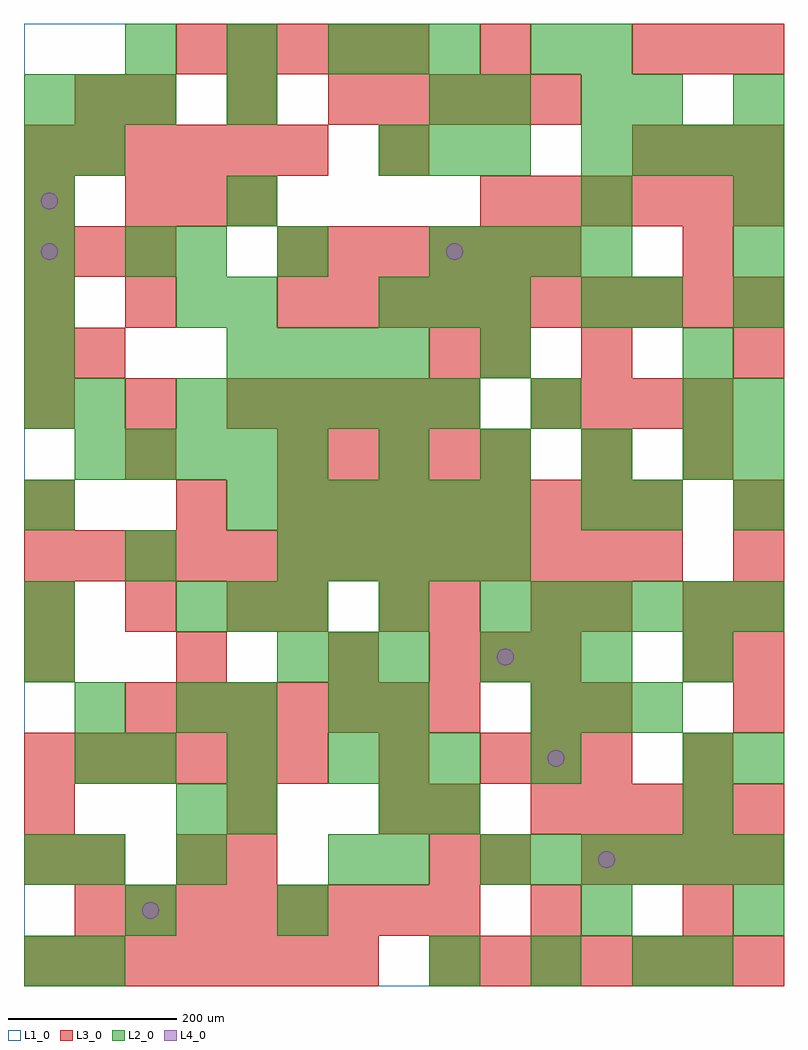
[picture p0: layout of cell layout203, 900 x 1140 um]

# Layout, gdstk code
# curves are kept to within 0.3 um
import gdstk
lib = gdstk.Library(unit=1e-6, precision=1e-09)
def R(c, l, rs):  # rectangles x0, y0, x1, y1
    for r in rs: c.add(gdstk.rectangle(r[:2], r[2:], *l))
def A(c, l, x, y, w, h, nx, ny, dx, dy):  # array of equal rectangles
    R(c, l, [(x+i*dx, y+j*dy, x+i*dx+w, y+j*dy+h) for i in range(nx) for j in range(ny)])
def P(c, l, *ps):  # polygons
    for p in ps: c.add(gdstk.Polygon(p, *l))
L1_0 = (1, 0)
L2_0 = (2, 0)
L3_0 = (3, 0)
L4_0 = (4, 0)

layout203 = lib.new_cell('layout203')
R(layout203, L1_0, [(0,0,900,1140)])
A(layout203, L2_0, 60, 0, 60, 60, 1, 3, 0, 120)
A(layout203, L2_0, 480, 0, 60, 60, 3, 1, 120, 0)
A(layout203, L2_0, 420, 120, 60, 60, 1, 4, 0, 60)
A(layout203, L2_0, 540, 120, 60, 60, 6, 2, 60, 300)
A(layout203, L2_0, 120, 240, 60, 60, 3, 2, 120, 840)
A(layout203, L2_0, 600, 240, 60, 60, 1, 3, 0, 420)
A(layout203, L2_0, 600, 300, 60, 60, 3, 1, 60, 0)
A(layout203, L2_0, 300, 360, 60, 60, 3, 1, 60, 0)
A(layout203, L2_0, 540, 360, 60, 60, 3, 1, 60, 0)
A(layout203, L2_0, 0, 420, 60, 60, 1, 3, 0, 120)
A(layout203, L2_0, 180, 420, 60, 60, 3, 1, 60, 0)
A(layout203, L2_0, 300, 480, 60, 60, 5, 1, 60, 0)
A(layout203, L2_0, 240, 540, 60, 60, 6, 1, 60, 0)
A(layout203, L2_0, 720, 540, 60, 60, 1, 3, 0, 240)
A(layout203, L2_0, 840, 540, 60, 60, 1, 3, 0, 60)
A(layout203, L2_0, 60, 600, 60, 60, 5, 1, 60, 0)
A(layout203, L2_0, 420, 600, 60, 60, 4, 1, 120, 0)
A(layout203, L2_0, 180, 660, 60, 60, 6, 1, 60, 0)
A(layout203, L2_0, 0, 720, 60, 60, 1, 5, 0, 60)
A(layout203, L2_0, 240, 720, 60, 60, 4, 1, 60, 0)
A(layout203, L2_0, 240, 780, 60, 60, 1, 3, 0, 120)
A(layout203, L2_0, 420, 780, 60, 60, 3, 2, 60, 180)
A(layout203, L2_0, 660, 780, 60, 60, 1, 3, 0, 120)
A(layout203, L2_0, 840, 780, 60, 60, 1, 3, 0, 60)
A(layout203, L2_0, 480, 840, 60, 60, 4, 1, 60, 0)
A(layout203, L2_0, 660, 960, 60, 60, 4, 1, 60, 0)
A(layout203, L2_0, 0, 1020, 60, 60, 3, 1, 60, 0)
R(layout203, L2_0, [(0,0,60,60), (780,0,840,60), (120,60,180,120), (300,60,360,120), (660,60,720,120), (840,60,900,120), (0,120,60,180), (180,120,240,180), (360,120,420,180), (180,180,240,240), (240,180,300,240), (480,180,540,240), (780,180,840,240), (480,240,540,300), (780,240,840,300), (840,240,900,300), (60,300,120,360), (180,300,240,360), (240,300,300,360), (360,300,420,360), (0,360,60,420), (780,360,840,420), (420,420,480,480), (120,480,180,540), (660,540,720,600), (60,660,120,720), (780,660,840,720), (540,720,600,780), (780,720,840,780), (180,780,240,840), (120,840,180,900), (180,840,240,900), (300,840,360,900), (60,960,120,1020), (480,1020,540,1080), (540,1020,600,1080), (840,1020,900,1080), (420,1080,480,1140), (480,1080,540,1140), (660,1080,720,1140)])
A(layout203, L3_0, 0, 0, 60, 60, 7, 1, 60, 0)
A(layout203, L3_0, 480, 0, 60, 60, 7, 1, 60, 0)
A(layout203, L3_0, 60, 60, 60, 60, 8, 1, 60, 0)
A(layout203, L3_0, 660, 120, 60, 60, 4, 1, 60, 0)
A(layout203, L3_0, 600, 180, 60, 60, 5, 1, 60, 0)
A(layout203, L3_0, 0, 240, 60, 60, 6, 2, 60, 720)
A(layout203, L3_0, 540, 240, 60, 60, 3, 1, 60, 0)
A(layout203, L3_0, 120, 300, 60, 60, 7, 1, 60, 0)
A(layout203, L3_0, 840, 300, 60, 60, 1, 5, 0, 60)
A(layout203, L3_0, 0, 360, 60, 60, 3, 1, 180, 0)
A(layout203, L3_0, 480, 360, 60, 60, 3, 1, 60, 0)
A(layout203, L3_0, 0, 420, 60, 60, 3, 2, 120, 240)
A(layout203, L3_0, 0, 480, 60, 60, 13, 1, 60, 0)
A(layout203, L3_0, 300, 540, 60, 60, 8, 1, 60, 0)
A(layout203, L3_0, 300, 600, 60, 60, 5, 1, 60, 0)
A(layout203, L3_0, 300, 660, 60, 60, 4, 1, 60, 0)
A(layout203, L3_0, 600, 660, 60, 60, 4, 1, 60, 0)
A(layout203, L3_0, 300, 780, 60, 60, 10, 1, 60, 0)
A(layout203, L3_0, 0, 840, 60, 60, 3, 1, 60, 0)
A(layout203, L3_0, 300, 840, 60, 60, 6, 1, 60, 0)
A(layout203, L3_0, 120, 900, 60, 60, 3, 1, 60, 0)
A(layout203, L3_0, 540, 900, 60, 60, 6, 1, 60, 0)
A(layout203, L3_0, 720, 960, 60, 60, 3, 2, 60, 120)
A(layout203, L3_0, 120, 1020, 60, 60, 3, 1, 120, 0)
A(layout203, L3_0, 420, 1020, 60, 60, 4, 1, 60, 0)
A(layout203, L3_0, 180, 1080, 60, 60, 5, 1, 60, 0)
R(layout203, L3_0, [(600,60,660,120), (780,60,840,120), (0,120,60,180), (60,120,120,180), (180,120,240,180), (240,120,300,180), (480,120,540,180), (540,120,600,180), (0,180,60,240), (240,180,300,240), (420,180,480,240), (480,180,540,240), (420,240,480,300), (780,240,840,300), (600,300,660,360), (660,300,720,360), (780,360,840,420), (300,420,360,480), (420,420,480,480), (480,420,540,480), (600,420,660,480), (660,420,720,480), (780,420,840,480), (0,540,60,600), (180,540,240,600), (120,600,180,660), (660,600,720,660), (780,600,840,660), (0,720,60,780), (60,720,120,780), (480,720,540,780), (540,720,600,780), (660,720,720,780), (840,720,900,780), (0,780,60,840), (120,780,180,840), (780,840,840,900), (0,900,60,960), (420,960,480,1020), (60,1020,120,1080), (540,1080,600,1140)])
P(layout203, L4_0, [(40,870),(39.239,873.827),(37.071,877.071),(33.827,879.239),(30,880),(26.173,879.239),(22.929,877.071),(20.761,873.827),(20,870),(20.761,866.173),(22.929,862.929),(26.173,860.761),(30,860),(33.827,860.761),(37.071,862.929),(39.239,866.173)],
  [(40,930),(39.239,933.827),(37.071,937.071),(33.827,939.239),(30,940),(26.173,939.239),(22.929,937.071),(20.761,933.827),(20,930),(20.761,926.173),(22.929,922.929),(26.173,920.761),(30,920),(33.827,920.761),(37.071,922.929),(39.239,926.173)],
  [(160,90),(159.239,93.827),(157.071,97.071),(153.827,99.239),(150,100),(146.173,99.239),(142.929,97.071),(140.761,93.827),(140,90),(140.761,86.173),(142.929,82.929),(146.173,80.761),(150,80),(153.827,80.761),(157.071,82.929),(159.239,86.173)],
  [(520,870),(519.239,873.827),(517.071,877.071),(513.827,879.239),(510,880),(506.173,879.239),(502.929,877.071),(500.761,873.827),(500,870),(500.761,866.173),(502.929,862.929),(506.173,860.761),(510,860),(513.827,860.761),(517.071,862.929),(519.239,866.173)],
  [(580,390),(579.239,393.827),(577.071,397.071),(573.827,399.239),(570,400),(566.173,399.239),(562.929,397.071),(560.761,393.827),(560,390),(560.761,386.173),(562.929,382.929),(566.173,380.761),(570,380),(573.827,380.761),(577.071,382.929),(579.239,386.173)],
  [(640,270),(639.239,273.827),(637.071,277.071),(633.827,279.239),(630,280),(626.173,279.239),(622.929,277.071),(620.761,273.827),(620,270),(620.761,266.173),(622.929,262.929),(626.173,260.761),(630,260),(633.827,260.761),(637.071,262.929),(639.239,266.173)],
  [(700,150),(699.239,153.827),(697.071,157.071),(693.827,159.239),(690,160),(686.173,159.239),(682.929,157.071),(680.761,153.827),(680,150),(680.761,146.173),(682.929,142.929),(686.173,140.761),(690,140),(693.827,140.761),(697.071,142.929),(699.239,146.173)])

lib.write_gds('layout203.gds')
